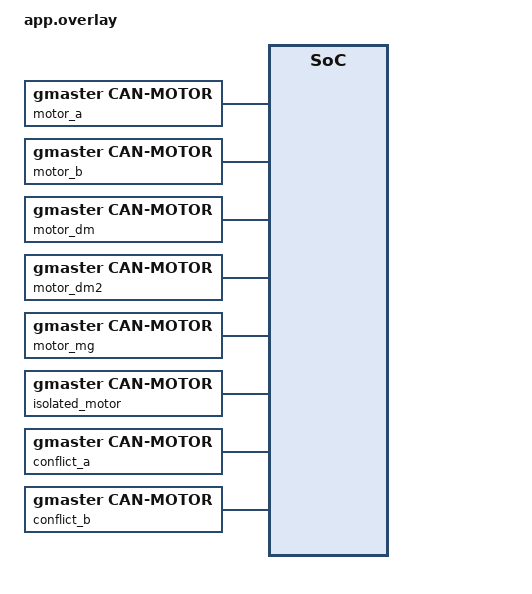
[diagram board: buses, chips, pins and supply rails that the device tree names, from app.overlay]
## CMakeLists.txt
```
# SPDX-FileCopyrightText: 2026 GMaster contributors
# SPDX-License-Identifier: Apache-2.0
cmake_minimum_required(VERSION 3.20.0)
find_package(Zephyr REQUIRED HINTS $ENV{ZEPHYR_BASE})
project(gzrl_motor_bus_fake_tests)
target_sources(app PRIVATE src/main.c src/cpp_api.cpp)
```

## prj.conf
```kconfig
# SPDX-FileCopyrightText: 2026 GMaster contributors
# SPDX-License-Identifier: Apache-2.0
CONFIG_GZRL=y
CONFIG_GZRL_MOTOR=y
CONFIG_GZRL_MOTOR_MAX_DEVICES=8
CONFIG_GZRL_MOTOR_RX_DEPTH=4
CONFIG_CAN=y
CONFIG_ZTEST=y
CONFIG_CPP=y
CONFIG_MAIN_STACK_SIZE=4096
CONFIG_ZTEST_STACK_SIZE=8192
```

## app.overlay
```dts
/*
 * SPDX-FileCopyrightText: 2026 GMaster contributors
 * SPDX-License-Identifier: Apache-2.0
 */
/ {
	fake_can0: fake-can0 { compatible = "zephyr,fake-can"; };
	fake_can1: fake-can1 { compatible = "zephyr,fake-can"; };
	conflict_can: conflict-can { compatible = "zephyr,fake-can"; };
	motor_a: motor-a {
		compatible = "gmaster,can-motor";
		can = <&fake_can0>;
		model = "m3508";
		motor-id = <1>;
	};
	motor_b: motor-b {
		compatible = "gmaster,can-motor";
		can = <&fake_can0>;
		model = "m3508";
		motor-id = <2>;
	};
	motor_dm: motor-dm {
		compatible = "gmaster,can-motor";
		can = <&fake_can0>;
		model = "dm4310";
		motor-id = <1>;
		feedback-id = <0x50>;
	};
	motor_dm2: motor-dm2 {
		compatible = "gmaster,can-motor";
		can = <&fake_can0>;
		model = "dm2325";
		motor-id = <2>;
		feedback-id = <0x50>;
	};
	motor_mg: motor-mg {
		compatible = "gmaster,can-motor";
		can = <&fake_can0>;
		model = "lkmg";
		motor-id = <1>;
	};
	isolated_motor: isolated-motor {
		compatible = "gmaster,can-motor";
		can = <&fake_can1>;
		model = "m3508";
		motor-id = <1>;
	};
	conflict_a: conflict-a {
		compatible = "gmaster,can-motor";
		can = <&conflict_can>;
		model = "m3508";
		motor-id = <5>;
	};
	conflict_b: conflict-b {
		compatible = "gmaster,can-motor";
		can = <&conflict_can>;
		model = "gm6020";
		motor-id = <1>;
	};
};
```

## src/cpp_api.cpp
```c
/*
 * SPDX-FileCopyrightText: 2026 GMaster contributors
 * SPDX-License-Identifier: Apache-2.0
 */
#include <gzrl/motor/bus.h>

extern "C" uint32_t motor_cpp_capabilities(const struct device *dev)
{
	return gzrl_motor_device_capabilities(dev);
}
```
